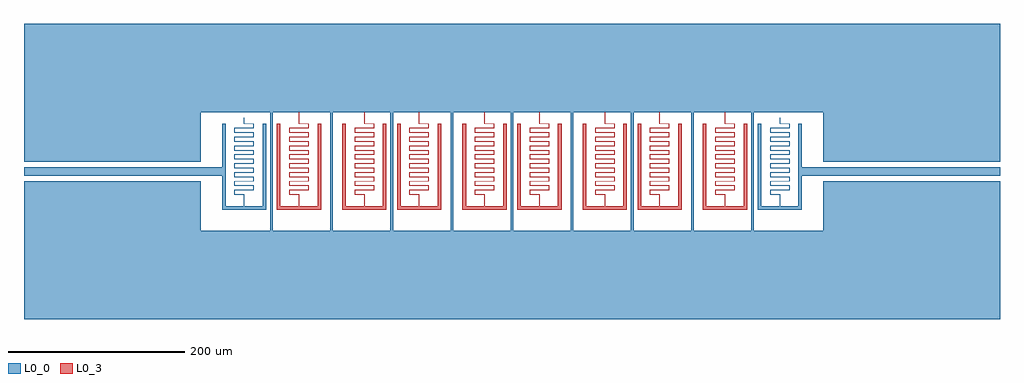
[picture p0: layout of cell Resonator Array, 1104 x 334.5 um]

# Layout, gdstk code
import gdstk
lib = gdstk.Library(unit=1e-6, precision=1e-09)
def P(c, l, *ps):  # polygons
    for p in ps: c.add(gdstk.Polygon(p, *l))
L0_0 = (0, 0)
L0_3 = (0, 3)

resonator_array = lib.new_cell('Resonator Array')
P(resonator_array, L0_0, [(793,32.25),(593,32.25),(593,-24),(514.5,-24),(514.5,110.5),(593,110.5),(593,54.25),(793,54.25),(793,210.5),(-311,210.5),(-311,54.25),(-111,54.25),(-111,110.5),(-32.5,110.5),(-32.5,-24),(-29.5,-24),(-29.5,110.5),(35.5,110.5),(35.5,-24),(38.5,-24),(38.5,110.5),(103.5,110.5),(103.5,-24),(106.5,-24),(106.5,110.5),(171.5,110.5),(171.5,-24),(174.5,-24),(174.5,110.5),(239.5,110.5),(239.5,-24),(242.5,-24),(242.5,110.5),(307.5,110.5),(307.5,-24),(310.5,-24),(310.5,110.5),(375.5,110.5),(375.5,-24),(378.5,-24),(378.5,110.5),(443.5,110.5),(443.5,-24),(446.5,-24),(446.5,110.5),(511.5,110.5),(511.5,-24),(446.5,-24),(443.5,-24),(378.5,-24),(375.5,-24),(310.5,-24),(307.5,-24),(242.5,-24),(239.5,-24),(174.5,-24),(171.5,-24),(106.5,-24),(103.5,-24),(38.5,-24),(35.5,-24),(-29.5,-24),(-32.5,-24),(-111,-24),(-111,32.25),(-311,32.25),(-311,-124),(793,-124)],
  [(-37,97.5),(-41,97.5),(-41,4),(-61.75,4),(-61.75,17.5),(-72.5,17.5),(-72.5,22),(-51,22),(-51,27.5),(-72.5,27.5),(-72.5,32),(-51,32),(-51,37.5),(-72.5,37.5),(-72.5,42),(-51,42),(-51,47.5),(-72.5,47.5),(-72.5,52),(-51,52),(-51,57.5),(-72.5,57.5),(-72.5,62),(-51,62),(-51,67.5),(-72.5,67.5),(-72.5,72),(-51,72),(-51,77.5),(-72.5,77.5),(-72.5,82),(-51,82),(-51,87.5),(-72.5,87.5),(-72.5,92),(-51,92),(-51,97.5),(-61.75,97.5),(-61.75,103.875),(-62.25,103.875),(-62.25,97),(-51.5,97),(-51.5,92.5),(-73,92.5),(-73,87),(-51.5,87),(-51.5,82.5),(-73,82.5),(-73,77),(-51.5,77),(-51.5,72.5),(-73,72.5),(-73,67),(-51.5,67),(-51.5,62.5),(-73,62.5),(-73,57),(-51.5,57),(-51.5,52.5),(-73,52.5),(-73,47),(-51.5,47),(-51.5,42.5),(-73,42.5),(-73,37),(-51.5,37),(-51.5,32.5),(-73,32.5),(-73,27),(-51.5,27),(-51.5,22.5),(-73,22.5),(-73,17),(-62.25,17),(-62.25,4),(-83,4),(-83,97.5),(-87,97.5),(-87,48.25),(-311,48.25),(-311,38.25),(-87,38.25),(-87,0),(-37,0)],
  [(569,38.25),(793,38.25),(793,48.25),(569,48.25),(569,97.5),(565,97.5),(565,4),(544.25,4),(544.25,17.5),(533.5,17.5),(533.5,22),(555,22),(555,27.5),(533.5,27.5),(533.5,32),(555,32),(555,37.5),(533.5,37.5),(533.5,42),(555,42),(555,47.5),(533.5,47.5),(533.5,52),(555,52),(555,57.5),(533.5,57.5),(533.5,62),(555,62),(555,67.5),(533.5,67.5),(533.5,72),(555,72),(555,77.5),(533.5,77.5),(533.5,82),(555,82),(555,87.5),(533.5,87.5),(533.5,92),(555,92),(555,97.5),(544.25,97.5),(544.25,103.875),(543.75,103.875),(543.75,97),(554.5,97),(554.5,92.5),(533,92.5),(533,87),(554.5,87),(554.5,82.5),(533,82.5),(533,77),(554.5,77),(554.5,72.5),(533,72.5),(533,67),(554.5,67),(554.5,62.5),(533,62.5),(533,57),(554.5,57),(554.5,52.5),(533,52.5),(533,47),(554.5,47),(554.5,42.5),(533,42.5),(533,37),(554.5,37),(554.5,32.5),(533,32.5),(533,27),(554.5,27),(554.5,22.5),(533,22.5),(533,17),(543.75,17),(543.75,4),(523,4),(523,97.5),(519,97.5),(519,0),(569,0)])
P(resonator_array, L0_3, [(-21,97.5),(-25,97.5),(-25,0),(25,0),(25,97.5),(21,97.5),(21,4),(-21,4)],
  [(-0.25,4),(0.25,4),(0.25,17.5),(-10.5,17.5),(-10.5,22),(0,22),(11,22),(11,27.5),(0,27.5),(-10.5,27.5),(-10.5,32),(0,32),(11,32),(11,37.5),(0,37.5),(-10.5,37.5),(-10.5,42),(0,42),(11,42),(11,47.5),(0,47.5),(-10.5,47.5),(-10.5,52),(0,52),(11,52),(11,57.5),(0,57.5),(-10.5,57.5),(-10.5,62),(0,62),(11,62),(11,67.5),(0,67.5),(-10.5,67.5),(-10.5,72),(0,72),(11,72),(11,77.5),(0,77.5),(-10.5,77.5),(-10.5,82),(0,82),(11,82),(11,87.5),(0,87.5),(-10.5,87.5),(-10.5,92),(0,92),(11,92),(11,97.5),(0.25,97.5),(0.25,110.5),(-0.25,110.5),(-0.25,97),(10.5,97),(10.5,92.5),(0,92.5),(-11,92.5),(-11,87),(0,87),(10.5,87),(10.5,82.5),(0,82.5),(-11,82.5),(-11,77),(0,77),(10.5,77),(10.5,72.5),(0,72.5),(-11,72.5),(-11,67),(0,67),(10.5,67),(10.5,62.5),(0,62.5),(-11,62.5),(-11,57),(0,57),(10.5,57),(10.5,52.5),(0,52.5),(-11,52.5),(-11,47),(0,47),(10.5,47),(10.5,42.5),(0,42.5),(-11,42.5),(-11,37),(0,37),(10.5,37),(10.5,32.5),(0,32.5),(-11,32.5),(-11,27),(0,27),(10.5,27),(10.5,22.5),(0,22.5),(-11,22.5),(-11,17),(-0.25,17)],
  [(53,97.5),(49,97.5),(49,0),(99,0),(99,97.5),(95,97.5),(95,4),(53,4)],
  [(73.75,4),(74.25,4),(74.25,17.5),(63.5,17.5),(63.5,22),(74,22),(85,22),(85,27.5),(74,27.5),(63.5,27.5),(63.5,32),(74,32),(85,32),(85,37.5),(74,37.5),(63.5,37.5),(63.5,42),(74,42),(85,42),(85,47.5),(74,47.5),(63.5,47.5),(63.5,52),(74,52),(85,52),(85,57.5),(74,57.5),(63.5,57.5),(63.5,62),(74,62),(85,62),(85,67.5),(74,67.5),(63.5,67.5),(63.5,72),(74,72),(85,72),(85,77.5),(74,77.5),(63.5,77.5),(63.5,82),(74,82),(85,82),(85,87.5),(74,87.5),(63.5,87.5),(63.5,92),(74,92),(85,92),(85,97.5),(74.25,97.5),(74.25,110.5),(73.75,110.5),(73.75,97),(84.5,97),(84.5,92.5),(74,92.5),(63,92.5),(63,87),(74,87),(84.5,87),(84.5,82.5),(74,82.5),(63,82.5),(63,77),(74,77),(84.5,77),(84.5,72.5),(74,72.5),(63,72.5),(63,67),(74,67),(84.5,67),(84.5,62.5),(74,62.5),(63,62.5),(63,57),(74,57),(84.5,57),(84.5,52.5),(74,52.5),(63,52.5),(63,47),(74,47),(84.5,47),(84.5,42.5),(74,42.5),(63,42.5),(63,37),(74,37),(84.5,37),(84.5,32.5),(74,32.5),(63,32.5),(63,27),(74,27),(84.5,27),(84.5,22.5),(74,22.5),(63,22.5),(63,17),(73.75,17)],
  [(115,97.5),(111,97.5),(111,0),(161,0),(161,97.5),(157,97.5),(157,4),(115,4)],
  [(135.75,4),(136.25,4),(136.25,17.5),(125.5,17.5),(125.5,22),(136,22),(147,22),(147,27.5),(136,27.5),(125.5,27.5),(125.5,32),(136,32),(147,32),(147,37.5),(136,37.5),(125.5,37.5),(125.5,42),(136,42),(147,42),(147,47.5),(136,47.5),(125.5,47.5),(125.5,52),(136,52),(147,52),(147,57.5),(136,57.5),(125.5,57.5),(125.5,62),(136,62),(147,62),(147,67.5),(136,67.5),(125.5,67.5),(125.5,72),(136,72),(147,72),(147,77.5),(136,77.5),(125.5,77.5),(125.5,82),(136,82),(147,82),(147,87.5),(136,87.5),(125.5,87.5),(125.5,92),(136,92),(147,92),(147,97.5),(136.25,97.5),(136.25,110.5),(135.75,110.5),(135.75,97),(146.5,97),(146.5,92.5),(136,92.5),(125,92.5),(125,87),(136,87),(146.5,87),(146.5,82.5),(136,82.5),(125,82.5),(125,77),(136,77),(146.5,77),(146.5,72.5),(136,72.5),(125,72.5),(125,67),(136,67),(146.5,67),(146.5,62.5),(136,62.5),(125,62.5),(125,57),(136,57),(146.5,57),(146.5,52.5),(136,52.5),(125,52.5),(125,47),(136,47),(146.5,47),(146.5,42.5),(136,42.5),(125,42.5),(125,37),(136,37),(146.5,37),(146.5,32.5),(136,32.5),(125,32.5),(125,27),(136,27),(146.5,27),(146.5,22.5),(136,22.5),(125,22.5),(125,17),(135.75,17)],
  [(189,97.5),(185,97.5),(185,0),(235,0),(235,97.5),(231,97.5),(231,4),(189,4)],
  [(209.75,4),(210.25,4),(210.25,17.5),(199.5,17.5),(199.5,22),(210,22),(221,22),(221,27.5),(210,27.5),(199.5,27.5),(199.5,32),(210,32),(221,32),(221,37.5),(210,37.5),(199.5,37.5),(199.5,42),(210,42),(221,42),(221,47.5),(210,47.5),(199.5,47.5),(199.5,52),(210,52),(221,52),(221,57.5),(210,57.5),(199.5,57.5),(199.5,62),(210,62),(221,62),(221,67.5),(210,67.5),(199.5,67.5),(199.5,72),(210,72),(221,72),(221,77.5),(210,77.5),(199.5,77.5),(199.5,82),(210,82),(221,82),(221,87.5),(210,87.5),(199.5,87.5),(199.5,92),(210,92),(221,92),(221,97.5),(210.25,97.5),(210.25,110.5),(209.75,110.5),(209.75,97),(220.5,97),(220.5,92.5),(210,92.5),(199,92.5),(199,87),(210,87),(220.5,87),(220.5,82.5),(210,82.5),(199,82.5),(199,77),(210,77),(220.5,77),(220.5,72.5),(210,72.5),(199,72.5),(199,67),(210,67),(220.5,67),(220.5,62.5),(210,62.5),(199,62.5),(199,57),(210,57),(220.5,57),(220.5,52.5),(210,52.5),(199,52.5),(199,47),(210,47),(220.5,47),(220.5,42.5),(210,42.5),(199,42.5),(199,37),(210,37),(220.5,37),(220.5,32.5),(210,32.5),(199,32.5),(199,27),(210,27),(220.5,27),(220.5,22.5),(210,22.5),(199,22.5),(199,17),(209.75,17)],
  [(251,97.5),(247,97.5),(247,0),(297,0),(297,97.5),(293,97.5),(293,4),(251,4)],
  [(271.75,4),(272.25,4),(272.25,17.5),(261.5,17.5),(261.5,22),(272,22),(283,22),(283,27.5),(272,27.5),(261.5,27.5),(261.5,32),(272,32),(283,32),(283,37.5),(272,37.5),(261.5,37.5),(261.5,42),(272,42),(283,42),(283,47.5),(272,47.5),(261.5,47.5),(261.5,52),(272,52),(283,52),(283,57.5),(272,57.5),(261.5,57.5),(261.5,62),(272,62),(283,62),(283,67.5),(272,67.5),(261.5,67.5),(261.5,72),(272,72),(283,72),(283,77.5),(272,77.5),(261.5,77.5),(261.5,82),(272,82),(283,82),(283,87.5),(272,87.5),(261.5,87.5),(261.5,92),(272,92),(283,92),(283,97.5),(272.25,97.5),(272.25,110.5),(271.75,110.5),(271.75,97),(282.5,97),(282.5,92.5),(272,92.5),(261,92.5),(261,87),(272,87),(282.5,87),(282.5,82.5),(272,82.5),(261,82.5),(261,77),(272,77),(282.5,77),(282.5,72.5),(272,72.5),(261,72.5),(261,67),(272,67),(282.5,67),(282.5,62.5),(272,62.5),(261,62.5),(261,57),(272,57),(282.5,57),(282.5,52.5),(272,52.5),(261,52.5),(261,47),(272,47),(282.5,47),(282.5,42.5),(272,42.5),(261,42.5),(261,37),(272,37),(282.5,37),(282.5,32.5),(272,32.5),(261,32.5),(261,27),(272,27),(282.5,27),(282.5,22.5),(272,22.5),(261,22.5),(261,17),(271.75,17)],
  [(325,97.5),(321,97.5),(321,0),(371,0),(371,97.5),(367,97.5),(367,4),(325,4)],
  [(345.75,4),(346.25,4),(346.25,17.5),(335.5,17.5),(335.5,22),(346,22),(357,22),(357,27.5),(346,27.5),(335.5,27.5),(335.5,32),(346,32),(357,32),(357,37.5),(346,37.5),(335.5,37.5),(335.5,42),(346,42),(357,42),(357,47.5),(346,47.5),(335.5,47.5),(335.5,52),(346,52),(357,52),(357,57.5),(346,57.5),(335.5,57.5),(335.5,62),(346,62),(357,62),(357,67.5),(346,67.5),(335.5,67.5),(335.5,72),(346,72),(357,72),(357,77.5),(346,77.5),(335.5,77.5),(335.5,82),(346,82),(357,82),(357,87.5),(346,87.5),(335.5,87.5),(335.5,92),(346,92),(357,92),(357,97.5),(346.25,97.5),(346.25,110.5),(345.75,110.5),(345.75,97),(356.5,97),(356.5,92.5),(346,92.5),(335,92.5),(335,87),(346,87),(356.5,87),(356.5,82.5),(346,82.5),(335,82.5),(335,77),(346,77),(356.5,77),(356.5,72.5),(346,72.5),(335,72.5),(335,67),(346,67),(356.5,67),(356.5,62.5),(346,62.5),(335,62.5),(335,57),(346,57),(356.5,57),(356.5,52.5),(346,52.5),(335,52.5),(335,47),(346,47),(356.5,47),(356.5,42.5),(346,42.5),(335,42.5),(335,37),(346,37),(356.5,37),(356.5,32.5),(346,32.5),(335,32.5),(335,27),(346,27),(356.5,27),(356.5,22.5),(346,22.5),(335,22.5),(335,17),(345.75,17)],
  [(387,97.5),(383,97.5),(383,0),(433,0),(433,97.5),(429,97.5),(429,4),(387,4)],
  [(407.75,4),(408.25,4),(408.25,17.5),(397.5,17.5),(397.5,22),(408,22),(419,22),(419,27.5),(408,27.5),(397.5,27.5),(397.5,32),(408,32),(419,32),(419,37.5),(408,37.5),(397.5,37.5),(397.5,42),(408,42),(419,42),(419,47.5),(408,47.5),(397.5,47.5),(397.5,52),(408,52),(419,52),(419,57.5),(408,57.5),(397.5,57.5),(397.5,62),(408,62),(419,62),(419,67.5),(408,67.5),(397.5,67.5),(397.5,72),(408,72),(419,72),(419,77.5),(408,77.5),(397.5,77.5),(397.5,82),(408,82),(419,82),(419,87.5),(408,87.5),(397.5,87.5),(397.5,92),(408,92),(419,92),(419,97.5),(408.25,97.5),(408.25,110.5),(407.75,110.5),(407.75,97),(418.5,97),(418.5,92.5),(408,92.5),(397,92.5),(397,87),(408,87),(418.5,87),(418.5,82.5),(408,82.5),(397,82.5),(397,77),(408,77),(418.5,77),(418.5,72.5),(408,72.5),(397,72.5),(397,67),(408,67),(418.5,67),(418.5,62.5),(408,62.5),(397,62.5),(397,57),(408,57),(418.5,57),(418.5,52.5),(408,52.5),(397,52.5),(397,47),(408,47),(418.5,47),(418.5,42.5),(408,42.5),(397,42.5),(397,37),(408,37),(418.5,37),(418.5,32.5),(408,32.5),(397,32.5),(397,27),(408,27),(418.5,27),(418.5,22.5),(408,22.5),(397,22.5),(397,17),(407.75,17)],
  [(461,97.5),(457,97.5),(457,0),(507,0),(507,97.5),(503,97.5),(503,4),(461,4)],
  [(481.75,4),(482.25,4),(482.25,17.5),(471.5,17.5),(471.5,22),(482,22),(493,22),(493,27.5),(482,27.5),(471.5,27.5),(471.5,32),(482,32),(493,32),(493,37.5),(482,37.5),(471.5,37.5),(471.5,42),(482,42),(493,42),(493,47.5),(482,47.5),(471.5,47.5),(471.5,52),(482,52),(493,52),(493,57.5),(482,57.5),(471.5,57.5),(471.5,62),(482,62),(493,62),(493,67.5),(482,67.5),(471.5,67.5),(471.5,72),(482,72),(493,72),(493,77.5),(482,77.5),(471.5,77.5),(471.5,82),(482,82),(493,82),(493,87.5),(482,87.5),(471.5,87.5),(471.5,92),(482,92),(493,92),(493,97.5),(482.25,97.5),(482.25,110.5),(481.75,110.5),(481.75,97),(492.5,97),(492.5,92.5),(482,92.5),(471,92.5),(471,87),(482,87),(492.5,87),(492.5,82.5),(482,82.5),(471,82.5),(471,77),(482,77),(492.5,77),(492.5,72.5),(482,72.5),(471,72.5),(471,67),(482,67),(492.5,67),(492.5,62.5),(482,62.5),(471,62.5),(471,57),(482,57),(492.5,57),(492.5,52.5),(482,52.5),(471,52.5),(471,47),(482,47),(492.5,47),(492.5,42.5),(482,42.5),(471,42.5),(471,37),(482,37),(492.5,37),(492.5,32.5),(482,32.5),(471,32.5),(471,27),(482,27),(492.5,27),(492.5,22.5),(482,22.5),(471,22.5),(471,17),(481.75,17)])

lib.write_gds('Resonator_Array.gds')
